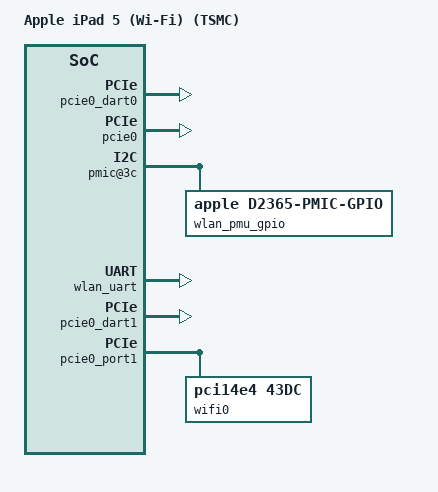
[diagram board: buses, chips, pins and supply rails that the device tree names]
// SPDX-License-Identifier: GPL-2.0+ OR MIT
/*
 * Apple iPad 5 (Wi-Fi) (TSMC), J71t, iPad6,11 (A1822)
 * Copyright (c) 2022, Konrad Dybcio <konradybcio@kernel.org>
 */

#define APPLE_J71T_BOOT_DISPLAY

/dts-v1/;

/memreserve/ 0x210e00000 0x9b000;
/memreserve/ 0x858000000 0x400000;

#include "s8003.dtsi"
#include "s800x-ipad5.dtsi"
#include "s8003-j71t-periph.dtsi"

#include "s8003-j71t-audio.dtsi"
/ {
	compatible = "apple,j71t", "apple,s8003", "apple,arm-platform";
	model = "Apple iPad 5 (Wi-Fi) (TSMC)";

	aliases {
		nvme-hmb = &nvme_hmb; /* Used by loader */
		serial2 = &wlan_uart;
		wifi0 = &wifi0; /* m1n1: local-mac-address, brcm,cal-blob */
	};

	reserved-memory {
		nvme_hmb: nvme-hmb@0 {
			reg = <0 0 0 0>; /* To be filled by loader */
			no-map;
		};

		/*
		 * sepOS root shared-memory page, handed over by pongoOS with
		 * op 6 on endpoint 0xfe (2026-10-26 boot: data=87adb0). sepOS
		 * may use it for the rest of its life. The address belongs to
		 * that pongoOS session: after a new sepOS boot, take it from
		 * the "root shmem ... data=" line of the pongoOS log.
		 */
		sep-shmem@87adb0000 {
			reg = <0x8 0x7adb0000 0x0 0x4000>;
			no-map;
		};
	};
};

/*
 * Keep the SEP PMGR word pongoOS hands over (0x4f0000ff) bit for bit. The
 * cold-boot AUTO_ENABLE update (0x5f0000ff) was in place when sepOS stopped
 * consuming the AP->SEP mailbox (2026-10-26 15:42).
 */
&ps_sep {
	apple,no-auto-pm;
};

&pcie0_dart0 {
	status = "okay";
};

&pcie0 {
	apple,lane-cfg = <1>;
	apple,nvme-hmb = <&nvme_hmb>;
	/* live ADT nvme-mmu0 invalidate-fifo-workaround (added by iBoot) */
	apple,nvmmu-invalidate-fifo = <1>;
	status = "okay";
};

/*
 * Wi-Fi: BCM4355 C0 (USI module "FearA"), 14e4:43dc, on port 1. From the
 * j71t live ADT:
 * - REG_ON: uart2/wlan function-reg_on = D2365 PMU GPIO 14
 * - DEVICE_WAKE: pci-bridge1 function-device_wake = AP GPIO 67
 * - PERST#: pci-bridge1 function-perst = AP GPIO 161 (s8003.dtsi)
 * - board type: uart2/wlan module-instance "feara"
 * The PCIe driver powers the chip and trains the link after probe (the
 * port has pwren-gpios), then rescans; NVMe on port 0 doesn't wait for it.
 */
&{/soc/i2c@20a110000/pmic@3c} {
	wlan_pmu_gpio: gpio {
		compatible = "apple,d2365-pmic-gpio";
		gpio-controller;
		#gpio-cells = <2>;
		/* 13: Bluetooth power enable, 14: WLAN REG_ON */
		gpio-reserved-ranges = <0 13>, <15 9>;
	};
};

&{/soc} {
	/*
	 * uart2 hosts the ADT's "wlan" (wlan-pcie-uart,bcm4355) node. Keep it
	 * powered and in its UART pin function while Wi-Fi runs, as Pauli1Go's
	 * A10 wlan-uart provider does (ADT function-tx = GPIO 192,
	 * function-rts = GPIO 194). The serial driver does exactly that.
	 */
	wlan_uart: serial@20a0c8000 {
		compatible = "apple,s5l-uart";
		reg = <0x2 0x0a0c8000 0x0 0x4000>;
		reg-io-width = <4>;
		interrupt-parent = <&aic>;
		interrupts = <AIC_IRQ 194 IRQ_TYPE_LEVEL_HIGH>;
		clocks = <&clkref>, <&clkref>;
		clock-names = "uart", "clk_uart_baud0";
		power-domains = <&ps_uart2>;
		pinctrl-0 = <&wlan_uart2_pins>;
		pinctrl-names = "default";
	};
};

&pinctrl_ap {
	wlan_uart2_pins: wlan-uart2-pins {
		pinmux = <APPLE_PINMUX(192, 1)>, <APPLE_PINMUX(194, 1)>;
	};

	/*
	 * Port 1 CLKREQ# (pci-bridge1 function-clkreq, AP GPIO 165) in its
	 * peripheral function: iBoot doesn't set it up for Wi-Fi on a tethered
	 * boot. Function 1 by analogy with A10 J172 (pin 19) and the UART pins.
	 */
	wifi_clkreq_pins: wifi-clkreq-pins {
		pinmux = <APPLE_PINMUX(165, 1)>;
	};
};

&pcie0 {
	pinctrl-0 = <&wifi_clkreq_pins>;
	pinctrl-names = "default";
};

&pcie0_dart1 {
	status = "okay";
};

&pcie0_port1 {
	/* Linux numbers it after port 0's bus 1 */
	bus-range = <2 2>;
	pwren-gpios = <&wlan_pmu_gpio 14 GPIO_ACTIVE_HIGH>;
	device-wake-gpios = <&pinctrl_ap 67 GPIO_ACTIVE_HIGH>;

	wifi0: wifi@0,0 {
		compatible = "pci14e4,43dc";
		/* port 1's secondary bus is 2 (iommu-map 0x200 -> pcie0_dart1) */
		reg = <0x20000 0x0 0x0 0x0 0x0>;
		brcm,board-type = "apple,feara";
		/* the staged firmware's antenna SKU (A10 J172 uses the same) */
		apple,antenna-sku = "XX";
		/* filled by m1n1 from the ADT (/chosen mac-address-wifi0) */
		local-mac-address = [00 00 00 00 00 00];
		/* cfg80211's country goes to the firmware as <ISO code>/0 */
		brcm,ccode-map-trivial;
	};
};

#include "s8003-j71t-touch.dtsi"

#include "s8003-j71t-usbhost.dtsi"
